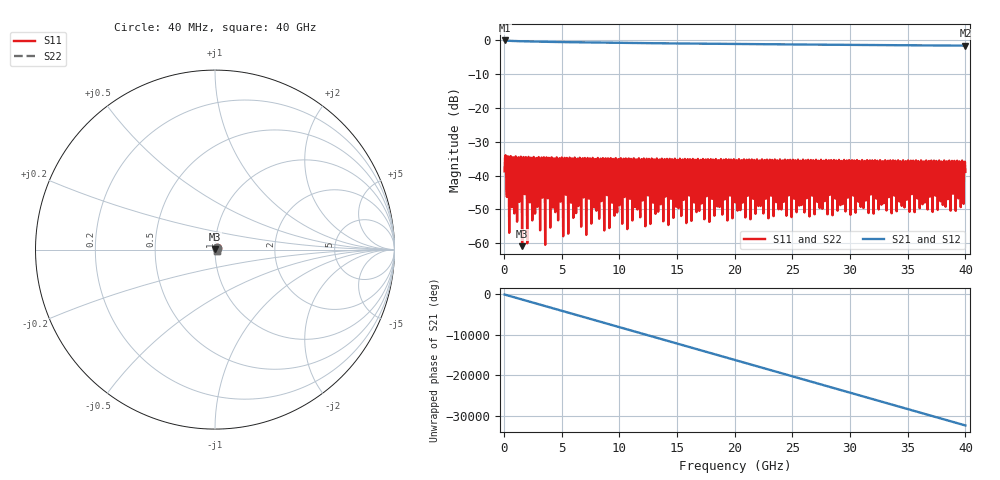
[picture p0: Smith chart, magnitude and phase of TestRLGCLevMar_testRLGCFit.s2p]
# MHz MA S R 50.0
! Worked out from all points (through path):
!   1000 points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, 40 MHz to 40 GHz, reference 50 ohm
!   highest |S21| = -0.05 dB at 40 MHz (marker M1); lowest = -1.6 dB at 40 GHz (marker M2)
!   lowest |S11| = -60.8 dB at 1.56 GHz (marker M3), VSWR 1.00, Z = 50.1 + j0.0581 ohm
!   |S11| at or under -10 dB: start of sweep to end of sweep
!   |S22| runs from -60.8 to -34.0 dB; largest |S21 - S12| = 0
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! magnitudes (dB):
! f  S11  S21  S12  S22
! 40 MHz  -38.7  0.0  0.0  -38.7
! 200 MHz  -44.1  -0.1  -0.1  -44.1
! 240 MHz  -46.3  -0.1  -0.1  -46.3
! 320 MHz  -34.3  -0.1  -0.1  -34.3
! 880 MHz  -51.2  -0.2  -0.2  -51.2
! 1.56 GHz  -60.8  -0.3  -0.3  -60.8
! 2.16 GHz  -36.4  -0.3  -0.3  -36.4
! 2.24 GHz  -47.9  -0.3  -0.3  -47.9
! 2.68 GHz  -51.2  -0.4  -0.4  -51.2
! 3.44 GHz  -34.6  -0.4  -0.4  -34.6
! 4.24 GHz  -49.4  -0.5  -0.5  -49.4
! 4.88 GHz  -47.7  -0.5  -0.5  -47.7
! 5 GHz  -34.7  -0.5  -0.5  -34.7
! 6.72 GHz  -39.3  -0.6  -0.6  -39.3
! 13.36 GHz  -50.7  -0.9  -0.9  -50.7
! 20.04 GHz  -47.9  -1.1  -1.1  -47.9
! 26.68 GHz  -44.9  -1.3  -1.3  -44.9
! 33.36 GHz  -46.4  -1.4  -1.4  -46.4
! 39.72 GHz  -35.6  -1.6  -1.6  -35.6
! 39.8 GHz  -42.7  -1.6  -1.6  -42.7
! 39.88 GHz  -39.1  -1.6  -1.6  -39.1
! 40 GHz  -38.8  -1.6  -1.6  -38.8
